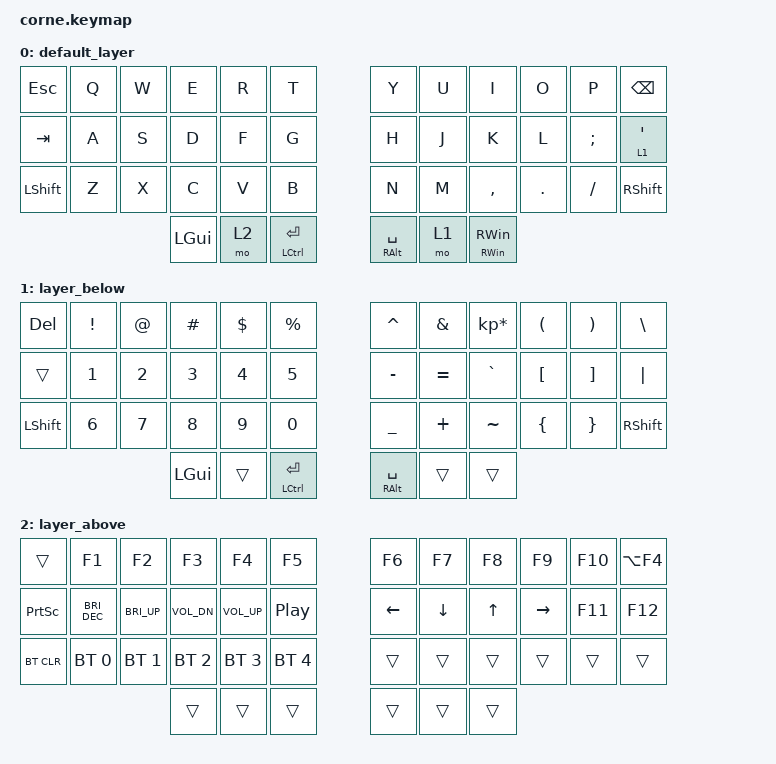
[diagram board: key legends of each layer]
/*
 * Copyright (c) 2020 The ZMK Contributors
 *
 * SPDX-License-Identifier: MIT
 */

#include <behaviors.dtsi>
#include <dt-bindings/zmk/bt.h>
#include <dt-bindings/zmk/keys.h>

/ {
    behaviors {
        tp: tap_preferred {
            compatible = "zmk,behavior-hold-tap";
            label = "TAP_PREFERRED";
            #binding-cells = <2>;
            tapping-term-ms = <300>;
            quick-tap-ms = <0>;
            flavor = "tap-preferred";
            bindings = <&kp>, <&kp>;
        };
    };

    keymap {
        compatible = "zmk,keymap";

        default_layer {
            // -----------------------------------------------------------------------------------------
            // | TAB  |  Q  |  W  |  E  |  R  |    T    |   |  Y  |  U   |  I  |  O  |  P  | ESC |
            // | CTRL |  A  |  S  |  D  |  F  |    G    |   |  H  |  J   |  K  |  L  |  ;  |  LWR/'   |
            // | SHFT |  Z  |  X  |  C  |  V  |    B    |   |  N  |  M   |  ,  |  .  |  /  | SHFT |
            //                    | GUI | LWR | ALT/ENT |   | HYPER/SPC | BKSP  | RSE |

            bindings = <
&kp ESC          &kp Q  &kp W  &kp E     &kp R  &kp T                   &kp Y                &kp U  &kp I                    &kp O    &kp P     &kp BACKSPACE
&kp TAB          &kp A  &kp S  &kp D     &kp F  &kp G                   &kp H                &kp J  &kp K                    &kp L    &kp SEMI  &lt 1 SQT
&kp LSHFT        &kp Z  &kp X  &kp C     &kp V  &kp B                   &kp N                &kp M  &kp COMMA                &kp DOT  &kp FSLH  &kp RSHFT
                               &kp LGUI  &mo 2  &tp LEFT_CONTROL RET    &tp RIGHT_ALT SPACE  &mo 1  &tp RIGHT_WIN RIGHT_WIN
            >;
        };

        layer_below {
            // -----------------------------------------------------------------------------------------
            // |      |  !  |  @  |  #  |  $  |    %     |   |  ^  |  &  |  *  |  (  |  )  |   \   |
            // |      |  1  |  2  |  3  |  4  |    5     |   |  -  |  =  |  `  |  [  |  ]  |  "|"  |
            // | SHFT |  6  |  7  |  8  |  9  |    0     |   |  _  |  +  |  ~  |  {  |  }  | RSHFT |
            //                     | GUI |     | ALT/ENT |   | HYPER/SPACE | BKSP |    |

            bindings = <
&kp DEL    &kp EXCL  &kp AT  &kp HASH  &kp DLLR  &kp PRCNT        &kp CARET       &kp AMPS   &kp KP_MULTIPLY  &kp LPAR  &kp RPAR  &kp BSLH
&trans     &kp N1    &kp N2  &kp N3    &kp N4    &kp N5           &kp MINUS       &kp EQUAL  &kp GRAVE        &kp LBKT  &kp RBKT  &kp PIPE
&kp LSHFT  &kp N6    &kp N7  &kp N8    &kp N9    &kp N0           &kp UNDER       &kp PLUS   &kp TILDE        &kp LBRC  &kp RBRC  &kp RSHFT
                             &kp LGUI  &trans    &tp LCTRL RET    &tp RALT SPACE  &trans     &trans
            >;
        };

        layer_above {
            // -----------------------------------------------------------------------------------------
            // |       |  F1  |  F2  |  F3  |  F4  |  F5 |            |  F6  |  F7  |  F8  |  F9  |  F10  |   |
            // |       | Prev | Next | Vol - | Vol + | Play/Pause |   |      | LFT | DWN |  UP | RGT |     |     |
            // | BTCLR | BT1 | BT2 | BT3 | BT4 | BT5 |   |            |     |     |     |     |     |     |
            //                    |     |     |    |                  |     |     |     |

            bindings = <
&trans           &kp F1         &kp F2        &kp F3        &kp F4        &kp F5          &kp F6    &kp F7    &kp F8  &kp F9     &kp F10  &kp LA(F4)
&kp PRINTSCREEN  &kp C_BRI_DEC  &kp C_BRI_UP  &kp C_VOL_DN  &kp C_VOL_UP  &kp C_PP        &kp LEFT  &kp DOWN  &kp UP  &kp RIGHT  &kp F11  &kp F12
&bt BT_CLR       &bt BT_SEL 0   &bt BT_SEL 1  &bt BT_SEL 2  &bt BT_SEL 3  &bt BT_SEL 4    &trans    &trans    &trans  &trans     &trans   &trans
                                              &trans        &trans        &trans          &trans    &trans    &trans
            >;
        };
    };
};
